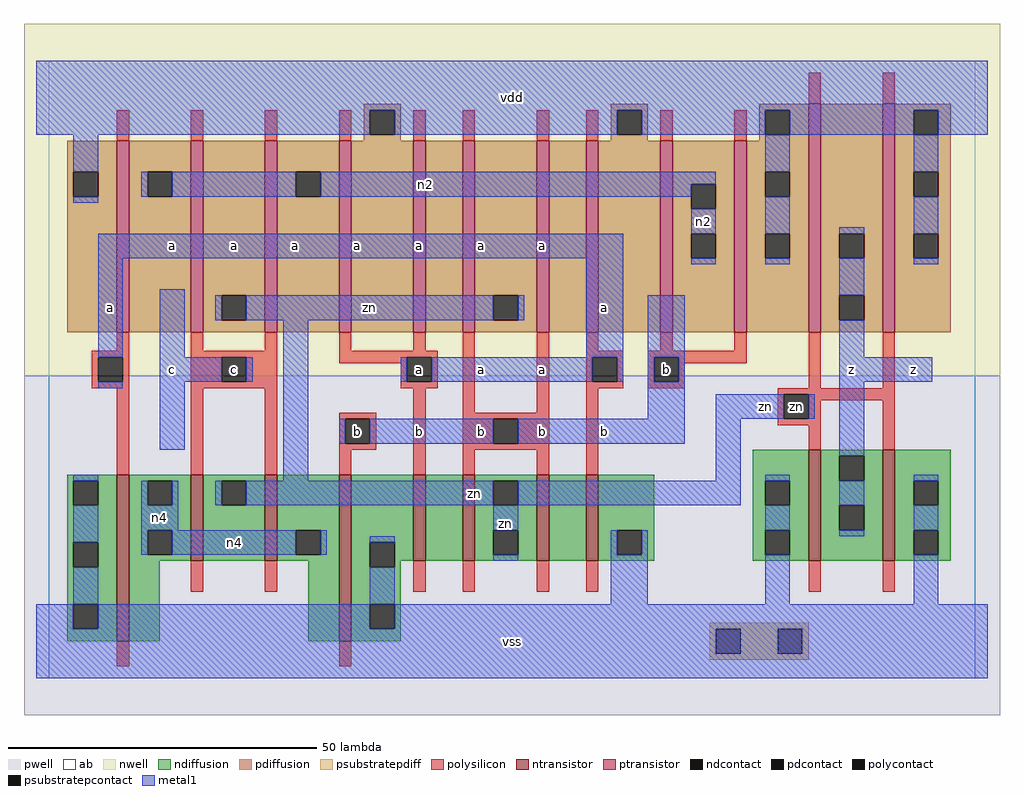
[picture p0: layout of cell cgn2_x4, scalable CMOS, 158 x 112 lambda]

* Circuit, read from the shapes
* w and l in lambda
.subckt cgn2_x4 a b c n2 n4 vdd vss z zn
M1 n4 a vss vss nfet w=27 l=2
M2 zn c n4 vss nfet w=14 l=2 m=2
M3 vss b n4 vss nfet w=27 l=2
M4 n1 a vss vss nfet w=14 l=2
M5 zn b n1 vss nfet w=14 l=2
M6 n3 b zn vss nfet w=14 l=2
M7 vss a n3 vss nfet w=14 l=2
M8 z zn vss vss nfet w=18 l=2 m=2
M9 n2 a vdd n5 pfet w=31 l=2 m=2
M10 zn c n2 n5 pfet w=31 l=2 m=2
M11 n6 a vdd n5 pfet w=31 l=2
M12 zn b n6 n5 pfet w=31 l=2
M13 n7 b zn n5 pfet w=31 l=2
M14 vdd a n7 n5 pfet w=31 l=2
M15 n2 b vdd n5 pfet w=31 l=2 m=2
M16 z zn vdd n5 pfet w=37 l=2 m=2
.ends

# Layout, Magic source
magic
tech scmos
<< ab >>
rect 0 0 150 100
<< pwell >>
rect -4 -6 154 49
<< nwell >>
rect -4 49 154 106
<< polysilicon >>
rect 123 93 125 98
rect 135 93 137 98
rect 11 87 13 92
rect 23 87 25 92
rect 35 87 37 92
rect 47 87 49 92
rect 59 87 61 92
rect 67 87 69 92
rect 79 87 81 92
rect 87 87 89 92
rect 99 87 101 92
rect 111 87 113 92
rect 11 53 13 56
rect 7 52 13 53
rect 7 48 8 52
rect 12 48 13 52
rect 7 47 13 48
rect 11 33 13 47
rect 23 53 25 56
rect 35 53 37 56
rect 23 52 37 53
rect 23 48 28 52
rect 32 48 37 52
rect 47 53 49 56
rect 59 53 61 56
rect 47 52 63 53
rect 47 51 58 52
rect 23 47 37 48
rect 57 48 58 51
rect 62 48 63 52
rect 57 47 63 48
rect 23 33 25 47
rect 35 33 37 47
rect 47 42 53 43
rect 47 38 48 42
rect 52 38 53 42
rect 47 37 53 38
rect 47 33 49 37
rect 59 33 61 47
rect 67 43 69 56
rect 79 43 81 56
rect 67 42 81 43
rect 67 38 72 42
rect 76 38 81 42
rect 67 37 81 38
rect 67 33 69 37
rect 79 33 81 37
rect 87 53 89 56
rect 99 53 101 56
rect 111 53 113 56
rect 87 52 93 53
rect 87 48 88 52
rect 92 48 93 52
rect 87 47 93 48
rect 97 52 113 53
rect 97 48 98 52
rect 102 51 113 52
rect 102 48 103 51
rect 97 47 103 48
rect 123 47 125 56
rect 135 47 137 56
rect 87 33 89 47
rect 118 46 137 47
rect 118 42 119 46
rect 123 45 137 46
rect 123 42 125 45
rect 118 41 125 42
rect 123 37 125 41
rect 135 37 137 45
rect 23 14 25 19
rect 35 14 37 19
rect 59 14 61 19
rect 67 14 69 19
rect 79 14 81 19
rect 87 14 89 19
rect 123 14 125 19
rect 135 14 137 19
rect 11 2 13 6
rect 47 2 49 6
<< ndiffusion >>
rect 3 32 11 33
rect 3 28 4 32
rect 8 28 11 32
rect 3 22 11 28
rect 3 18 4 22
rect 8 18 11 22
rect 3 12 11 18
rect 3 8 4 12
rect 8 8 11 12
rect 3 6 11 8
rect 13 32 23 33
rect 13 28 16 32
rect 20 28 23 32
rect 13 24 23 28
rect 13 20 16 24
rect 20 20 23 24
rect 13 19 23 20
rect 25 32 35 33
rect 25 28 28 32
rect 32 28 35 32
rect 25 19 35 28
rect 37 24 47 33
rect 37 20 40 24
rect 44 20 47 24
rect 37 19 47 20
rect 13 6 18 19
rect 42 6 47 19
rect 49 22 59 33
rect 49 18 52 22
rect 56 19 59 22
rect 61 19 67 33
rect 69 32 79 33
rect 69 28 72 32
rect 76 28 79 32
rect 69 24 79 28
rect 69 20 72 24
rect 76 20 79 24
rect 69 19 79 20
rect 81 19 87 33
rect 89 24 98 33
rect 89 20 92 24
rect 96 20 98 24
rect 89 19 98 20
rect 114 32 123 37
rect 114 28 116 32
rect 120 28 123 32
rect 114 24 123 28
rect 114 20 116 24
rect 120 20 123 24
rect 114 19 123 20
rect 125 36 135 37
rect 125 32 128 36
rect 132 32 135 36
rect 125 28 135 32
rect 125 24 128 28
rect 132 24 135 28
rect 125 19 135 24
rect 137 32 146 37
rect 137 28 140 32
rect 144 28 146 32
rect 137 24 146 28
rect 137 20 140 24
rect 144 20 146 24
rect 137 19 146 20
rect 56 18 57 19
rect 49 12 57 18
rect 49 8 52 12
rect 56 8 57 12
rect 49 6 57 8
<< pdiffusion >>
rect 51 92 57 93
rect 91 92 97 93
rect 115 92 123 93
rect 51 88 52 92
rect 56 88 57 92
rect 51 87 57 88
rect 91 88 92 92
rect 96 88 97 92
rect 91 87 97 88
rect 115 88 116 92
rect 120 88 123 92
rect 115 87 123 88
rect 3 82 11 87
rect 3 78 4 82
rect 8 78 11 82
rect 3 56 11 78
rect 13 82 23 87
rect 13 78 16 82
rect 20 78 23 82
rect 13 56 23 78
rect 25 62 35 87
rect 25 58 28 62
rect 32 58 35 62
rect 25 56 35 58
rect 37 82 47 87
rect 37 78 40 82
rect 44 78 47 82
rect 37 56 47 78
rect 49 56 59 87
rect 61 56 67 87
rect 69 62 79 87
rect 69 58 72 62
rect 76 58 79 62
rect 69 56 79 58
rect 81 56 87 87
rect 89 56 99 87
rect 101 80 111 87
rect 101 76 104 80
rect 108 76 111 80
rect 101 72 111 76
rect 101 68 104 72
rect 108 68 111 72
rect 101 56 111 68
rect 113 82 123 87
rect 113 78 116 82
rect 120 78 123 82
rect 113 72 123 78
rect 113 68 116 72
rect 120 68 123 72
rect 113 56 123 68
rect 125 72 135 93
rect 125 68 128 72
rect 132 68 135 72
rect 125 62 135 68
rect 125 58 128 62
rect 132 58 135 62
rect 125 56 135 58
rect 137 92 146 93
rect 137 88 140 92
rect 144 88 146 92
rect 137 82 146 88
rect 137 78 140 82
rect 144 78 146 82
rect 137 72 146 78
rect 137 68 140 72
rect 144 68 146 72
rect 137 56 146 68
<< metal1 >>
rect -2 92 152 100
rect -2 88 52 92
rect 56 88 92 92
rect 96 88 116 92
rect 120 88 140 92
rect 144 88 152 92
rect 4 82 8 88
rect 116 82 120 88
rect 15 78 16 82
rect 20 78 40 82
rect 44 80 108 82
rect 44 78 104 80
rect 4 77 8 78
rect 104 72 108 76
rect 8 68 93 72
rect 8 52 12 68
rect 8 47 12 48
rect 18 52 22 63
rect 27 58 28 62
rect 32 58 72 62
rect 76 58 77 62
rect 18 48 28 52
rect 32 48 33 52
rect 18 37 22 48
rect 4 32 8 33
rect 38 32 42 58
rect 87 52 93 68
rect 104 67 108 68
rect 116 72 120 78
rect 140 82 144 88
rect 116 67 120 68
rect 128 72 132 73
rect 128 62 132 68
rect 140 72 144 78
rect 140 67 144 68
rect 57 48 58 52
rect 62 48 88 52
rect 92 48 93 52
rect 97 52 103 62
rect 97 48 98 52
rect 102 48 103 52
rect 97 42 103 48
rect 128 52 132 58
rect 128 48 143 52
rect 47 38 48 42
rect 52 38 72 42
rect 76 38 103 42
rect 108 42 119 46
rect 123 42 124 46
rect 108 32 112 42
rect 128 36 132 48
rect 4 22 8 28
rect 15 28 16 32
rect 20 28 21 32
rect 27 28 28 32
rect 32 28 72 32
rect 76 28 112 32
rect 116 32 120 33
rect 15 24 21 28
rect 72 24 76 28
rect 116 24 120 28
rect 15 20 16 24
rect 20 20 40 24
rect 44 20 45 24
rect 52 22 56 23
rect 4 12 8 18
rect 72 19 76 20
rect 91 20 92 24
rect 96 20 97 24
rect 52 12 56 18
rect 91 12 97 20
rect 128 28 132 32
rect 128 23 132 24
rect 140 32 144 33
rect 140 24 144 28
rect 116 12 120 20
rect 140 12 144 20
rect -2 8 4 12
rect 8 8 52 12
rect 56 8 152 12
rect -2 0 152 8
<< ntransistor >>
rect 11 6 13 33
rect 23 19 25 33
rect 35 19 37 33
rect 47 6 49 33
rect 59 19 61 33
rect 67 19 69 33
rect 79 19 81 33
rect 87 19 89 33
rect 123 19 125 37
rect 135 19 137 37
<< ptransistor >>
rect 11 56 13 87
rect 23 56 25 87
rect 35 56 37 87
rect 47 56 49 87
rect 59 56 61 87
rect 67 56 69 87
rect 79 56 81 87
rect 87 56 89 87
rect 99 56 101 87
rect 111 56 113 87
rect 123 56 125 93
rect 135 56 137 93
<< polycontact >>
rect 8 48 12 52
rect 28 48 32 52
rect 58 48 62 52
rect 48 38 52 42
rect 72 38 76 42
rect 88 48 92 52
rect 98 48 102 52
rect 119 42 123 46
<< ndcontact >>
rect 4 28 8 32
rect 4 18 8 22
rect 4 8 8 12
rect 16 28 20 32
rect 16 20 20 24
rect 28 28 32 32
rect 40 20 44 24
rect 52 18 56 22
rect 72 28 76 32
rect 72 20 76 24
rect 92 20 96 24
rect 116 28 120 32
rect 116 20 120 24
rect 128 32 132 36
rect 128 24 132 28
rect 140 28 144 32
rect 140 20 144 24
rect 52 8 56 12
<< pdcontact >>
rect 52 88 56 92
rect 92 88 96 92
rect 116 88 120 92
rect 4 78 8 82
rect 16 78 20 82
rect 28 58 32 62
rect 40 78 44 82
rect 72 58 76 62
rect 104 76 108 80
rect 104 68 108 72
rect 116 78 120 82
rect 116 68 120 72
rect 128 68 132 72
rect 128 58 132 62
rect 140 88 144 92
rect 140 78 144 82
rect 140 68 144 72
<< psubstratepcontact >>
rect 108 4 112 8
rect 118 4 122 8
<< psubstratepdiff >>
rect 107 8 123 9
rect 107 4 108 8
rect 112 4 118 8
rect 122 4 123 8
rect 107 3 123 4
<< labels >>
rlabel polycontact 121 44 121 44 6 zn
rlabel metal1 18 26 18 26 6 n4
rlabel metal1 20 50 20 50 6 c
rlabel metal1 20 50 20 50 6 c
rlabel metal1 10 60 10 60 6 a
rlabel metal1 10 60 10 60 6 a
rlabel metal1 20 70 20 70 6 a
rlabel metal1 20 70 20 70 6 a
rlabel metal1 30 22 30 22 6 n4
rlabel polycontact 50 40 50 40 6 b
rlabel polycontact 50 40 50 40 6 b
rlabel polycontact 30 50 30 50 6 c
rlabel polycontact 30 50 30 50 6 c
rlabel metal1 30 70 30 70 6 a
rlabel metal1 30 70 30 70 6 a
rlabel metal1 40 70 40 70 6 a
rlabel metal1 50 70 50 70 6 a
rlabel metal1 40 70 40 70 6 a
rlabel metal1 50 70 50 70 6 a
rlabel metal1 75 6 75 6 6 vss
rlabel metal1 75 6 75 6 6 vss
rlabel metal1 74 25 74 25 6 zn
rlabel metal1 70 40 70 40 6 b
rlabel metal1 80 40 80 40 6 b
rlabel metal1 70 40 70 40 6 b
rlabel metal1 80 40 80 40 6 b
rlabel metal1 60 40 60 40 6 b
rlabel metal1 60 40 60 40 6 b
rlabel polycontact 60 50 60 50 6 a
rlabel polycontact 60 50 60 50 6 a
rlabel metal1 80 50 80 50 6 a
rlabel metal1 70 50 70 50 6 a
rlabel metal1 70 50 70 50 6 a
rlabel metal1 80 50 80 50 6 a
rlabel metal1 52 60 52 60 6 zn
rlabel metal1 60 70 60 70 6 a
rlabel metal1 60 70 60 70 6 a
rlabel metal1 80 70 80 70 6 a
rlabel metal1 70 70 70 70 6 a
rlabel metal1 70 70 70 70 6 a
rlabel metal1 80 70 80 70 6 a
rlabel metal1 75 94 75 94 6 vdd
rlabel metal1 75 94 75 94 6 vdd
rlabel metal1 69 30 69 30 6 zn
rlabel metal1 90 40 90 40 6 b
rlabel metal1 90 40 90 40 6 b
rlabel polycontact 100 50 100 50 6 b
rlabel polycontact 100 50 100 50 6 b
rlabel metal1 90 60 90 60 6 a
rlabel metal1 90 60 90 60 6 a
rlabel metal1 106 74 106 74 6 n2
rlabel metal1 61 80 61 80 6 n2
rlabel metal1 116 44 116 44 6 zn
rlabel metal1 130 50 130 50 6 z
rlabel metal1 140 50 140 50 6 z
rlabel metal1 130 50 130 50 6 z
rlabel metal1 140 50 140 50 6 z
<< end >>
